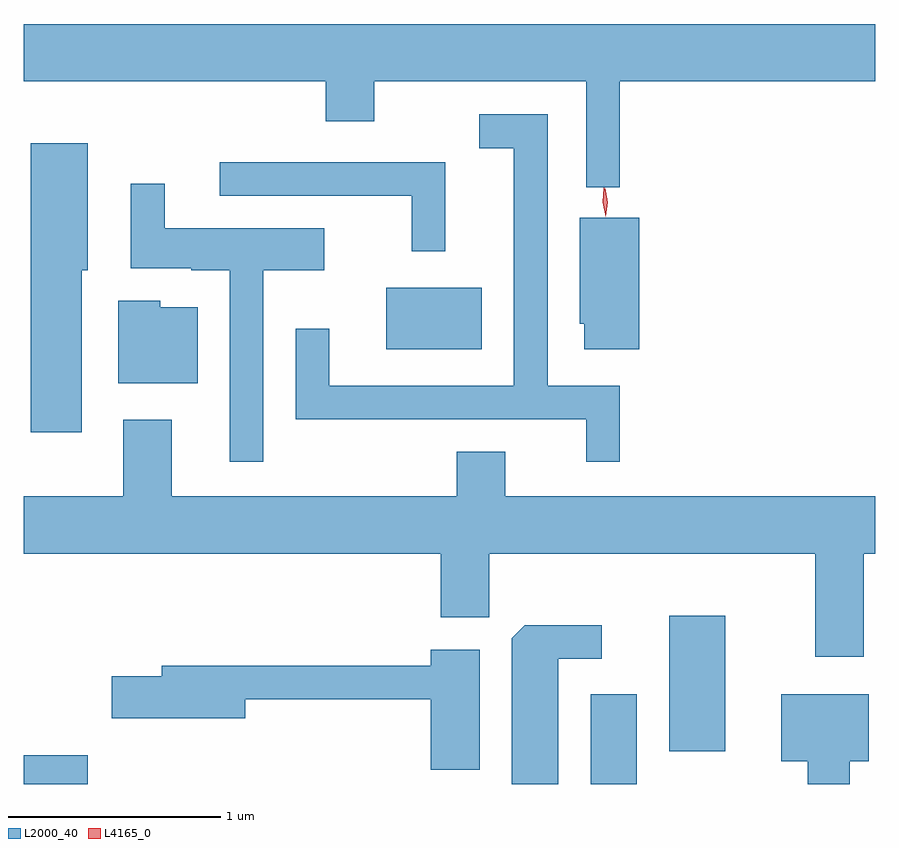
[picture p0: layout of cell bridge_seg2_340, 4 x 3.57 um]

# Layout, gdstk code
import gdstk
lib = gdstk.Library(unit=1e-6, precision=1e-09)
def R(c, l, rs):  # rectangles x0, y0, x1, y1
    for r in rs: c.add(gdstk.rectangle(r[:2], r[2:], *l))
def P(c, l, *ps):  # polygons
    for p in ps: c.add(gdstk.Polygon(p, *l))
L2000_40 = (2000, 40)
L4165_0 = (4165, 0)

bridge_seg2_340 = lib.new_cell('bridge_seg2_340')
R(bridge_seg2_340, L2000_40, [(401.333,1027.253,401.634,1027.389), (403.996,1027.253,404.214,1027.674), (404.366,1027.406,404.629,1028.044), (403.036,1029.296,403.484,1029.584)])
P(bridge_seg2_340, L2000_40, [(404.134,1030.556),(405.333,1030.556),(405.333,1030.824),(401.333,1030.824),(401.333,1030.556),(402.751,1030.556),(402.751,1030.366),(402.979,1030.366),(402.979,1030.556),(403.976,1030.556),(403.976,1030.058),(404.134,1030.058)],
  [(404.134,1029.124),(403.794,1029.124),(403.794,1030.399),(403.473,1030.399),(403.473,1030.241),(403.636,1030.241),(403.636,1029.124),(402.769,1029.124),(402.769,1029.392),(402.611,1029.392),(402.611,1028.966),(403.976,1028.966),(403.976,1028.767),(404.134,1028.767)],
  [(401.604,1029.666),(401.634,1029.666),(401.634,1030.264),(401.366,1030.264),(401.366,1028.906),(401.604,1028.906)],
  [(403.314,1030.174),(402.253,1030.174),(402.253,1030.016),(403.156,1030.016),(403.156,1029.757),(403.314,1029.757)],
  [(402.459,1029.666),(402.744,1029.666),(402.744,1029.864),(401.994,1029.864),(401.994,1030.073),(401.836,1030.073),(401.836,1029.676),(402.12,1029.676),(402.12,1029.666),(402.301,1029.666),(402.301,1028.767),(402.459,1028.767)],
  [(404.224,1029.914),(403.946,1029.914),(403.946,1029.416),(403.966,1029.416),(403.966,1029.296),(404.224,1029.296)],
  [(402.149,1029.494),(401.974,1029.494),(401.974,1029.524),(401.776,1029.524),(401.776,1029.136),(402.149,1029.136)],
  [(405.279,1028.336),(405.333,1028.336),(405.333,1028.604),(403.594,1028.604),(403.594,1028.814),(403.366,1028.814),(403.366,1028.604),(402.029,1028.604),(402.029,1028.964),(401.801,1028.964),(401.801,1028.604),(401.333,1028.604),(401.333,1028.336),(403.291,1028.336),(403.291,1028.036),(403.519,1028.036),(403.519,1028.336),(405.051,1028.336),(405.051,1027.851),(405.279,1027.851)],
  [(403.844,1027.841),(404.048,1027.841),(404.048,1027.999),(403.687,1027.999),(403.626,1027.939),(403.626,1027.253),(403.844,1027.253)],
  [(403.474,1027.884),(403.246,1027.884),(403.246,1027.809),(401.981,1027.809),(401.981,1027.759),(401.746,1027.759),(401.746,1027.561),(402.374,1027.561),(402.374,1027.651),(403.246,1027.651),(403.246,1027.321),(403.474,1027.321)],
  [(405.214,1027.361),(405.304,1027.361),(405.304,1027.674),(404.891,1027.674),(404.891,1027.361),(405.016,1027.361),(405.016,1027.253),(405.214,1027.253)])
P(bridge_seg2_340, L4165_0, [(404.067,1029.918),(404.067,1029.919),(404.053,1029.986),(404.058,1030.055),(404.059,1030.055),(404.059,1030.055),(404.073,1029.987),(404.068,1029.919)],
  [(404.067,1029.921),(404.056,1029.986),(404.064,1030.052),(404.064,1030.052),(404.065,1030.052),(404.076,1029.987),(404.068,1029.921),(404.068,1029.921)])

lib.write_gds('bridge_seg2_340.gds')
